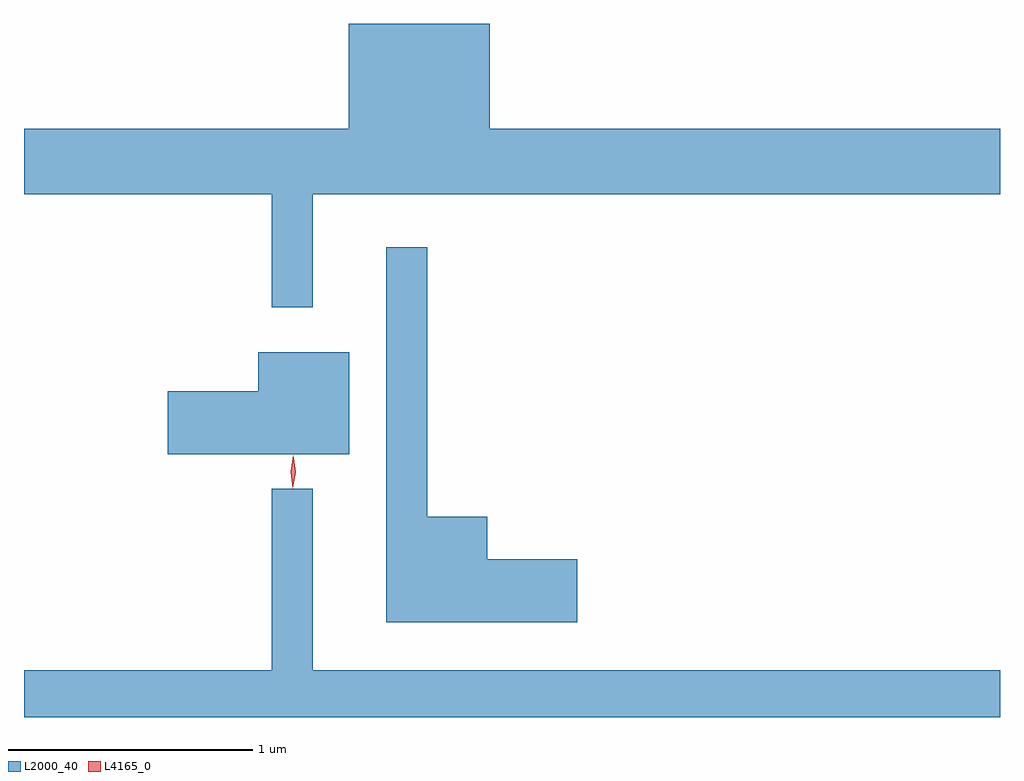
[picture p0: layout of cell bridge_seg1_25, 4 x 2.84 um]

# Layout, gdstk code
import gdstk
lib = gdstk.Library(unit=1e-6, precision=1e-09)
def P(c, l, *ps):  # polygons
    for p in ps: c.add(gdstk.Polygon(p, *l))
L2000_40 = (2000, 40)
L4165_0 = (4165, 0)

bridge_seg1_25 = lib.new_cell('bridge_seg1_25')
P(bridge_seg1_25, L2000_40, [(1676.649,841.856),(1679.466,841.856),(1679.466,842.124),(1677.374,842.124),(1677.374,842.555),(1676.796,842.555),(1676.796,842.124),(1675.466,842.124),(1675.466,841.856),(1676.481,841.856),(1676.481,841.393),(1676.649,841.393)],
  [(1677.734,840.359),(1677.364,840.359),(1677.364,840.534),(1677.119,840.534),(1677.119,841.638),(1676.951,841.638),(1676.951,840.101),(1677.734,840.101)],
  [(1676.799,841.209),(1676.426,841.209),(1676.426,841.049),(1676.056,841.049),(1676.056,840.791),(1676.799,840.791)],
  [(1679.466,839.904),(1676.649,839.904),(1676.649,840.648),(1676.481,840.648),(1676.481,839.904),(1675.466,839.904),(1675.466,839.712),(1679.466,839.712)])
P(bridge_seg1_25, L4165_0, [(1676.568,840.65),(1676.568,840.65),(1676.559,840.718),(1676.569,840.786),(1676.569,840.786),(1676.57,840.786),(1676.579,840.718),(1676.568,840.65)],
  [(1676.568,840.653),(1676.568,840.653),(1676.559,840.716),(1676.569,840.779),(1676.57,840.78),(1676.57,840.779),(1676.579,840.716),(1676.568,840.653)])

lib.write_gds('bridge_seg1_25.gds')
